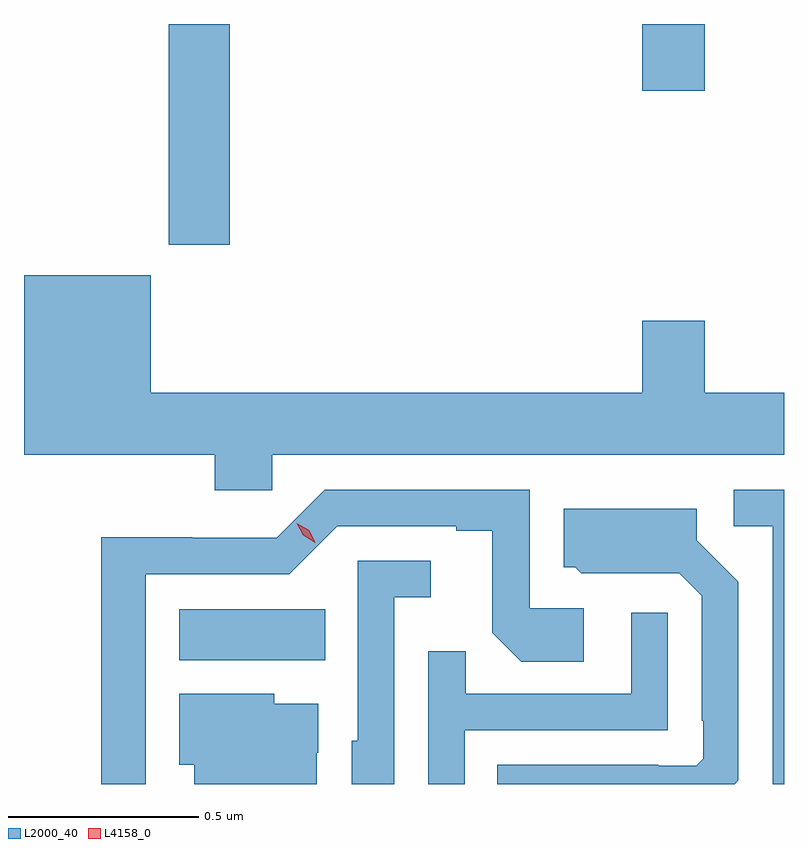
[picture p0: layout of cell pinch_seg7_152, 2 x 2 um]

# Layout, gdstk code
import gdstk
lib = gdstk.Library(unit=1e-6, precision=1e-09)
def R(c, l, rs):  # rectangles x0, y0, x1, y1
    for r in rs: c.add(gdstk.rectangle(r[:2], r[2:], *l))
def P(c, l, *ps):  # polygons
    for p in ps: c.add(gdstk.Polygon(p, *l))
L2000_40 = (2000, 40)
L4158_0 = (4158, 0)

pinch_seg7_152 = lib.new_cell('pinch_seg7_152')
R(pinch_seg7_152, L2000_40, [(1038.914,1018.724,1039.298,1018.858), (1038.886,1019.817,1039.046,1020.398), (1040.132,1020.222,1040.296,1020.398)])
P(pinch_seg7_152, L2000_40, [(1039.158,1019.264),(1040.505,1019.264),(1040.505,1019.428),(1040.296,1019.428),(1040.296,1019.617),(1040.132,1019.617),(1040.132,1019.428),(1038.838,1019.428),(1038.838,1019.737),(1038.505,1019.737),(1038.505,1019.264),(1039.007,1019.264),(1039.007,1019.171),(1039.158,1019.171)],
  [(1040.505,1019.172),(1040.373,1019.172),(1040.373,1019.076),(1040.475,1019.076),(1040.475,1018.398),(1040.505,1018.398)],
  [(1038.826,1018.95),(1039.203,1018.95),(1039.329,1019.076),(1039.643,1019.076),(1039.643,1019.064),(1039.737,1019.064),(1039.737,1018.796),(1039.813,1018.72),(1039.978,1018.72),(1039.978,1018.86),(1039.836,1018.86),(1039.836,1019.172),(1039.296,1019.172),(1039.17,1019.046),(1038.948,1019.046),(1038.948,1019.048),(1038.708,1019.048),(1038.708,1018.398),(1038.826,1018.398)],
  [(1040.385,1018.408),(1040.385,1018.93),(1040.275,1019.04),(1040.275,1019.122),(1039.925,1019.122),(1039.925,1018.968),(1039.956,1018.968),(1039.972,1018.952),(1040.106,1018.952),(1040.106,1018.953),(1040.229,1018.953),(1040.289,1018.893),(1040.289,1018.564),(1040.292,1018.564),(1040.292,1018.464),(1040.274,1018.446),(1040.174,1018.446),(1040.174,1018.449),(1039.75,1018.449),(1039.75,1018.398),(1040.375,1018.398)],
  [(1039.479,1018.889),(1039.576,1018.889),(1039.576,1018.986),(1039.383,1018.986),(1039.383,1018.512),(1039.368,1018.512),(1039.368,1018.398),(1039.479,1018.398)],
  [(1039.665,1018.539),(1040.199,1018.539),(1040.199,1018.849),(1040.103,1018.849),(1040.103,1018.635),(1039.667,1018.635),(1039.667,1018.748),(1039.569,1018.748),(1039.569,1018.398),(1039.665,1018.398)],
  [(1039.275,1018.48),(1039.279,1018.48),(1039.279,1018.609),(1039.164,1018.609),(1039.164,1018.636),(1038.914,1018.636),(1038.914,1018.449),(1038.953,1018.449),(1038.953,1018.398),(1039.275,1018.398)])
P(pinch_seg7_152, L4158_0, [(1039.272,1019.033),(1039.24,1019.052),(1039.223,1019.084),(1039.223,1019.084),(1039.223,1019.084),(1039.255,1019.066),(1039.272,1019.033),(1039.272,1019.033)])

lib.write_gds('pinch_seg7_152.gds')
